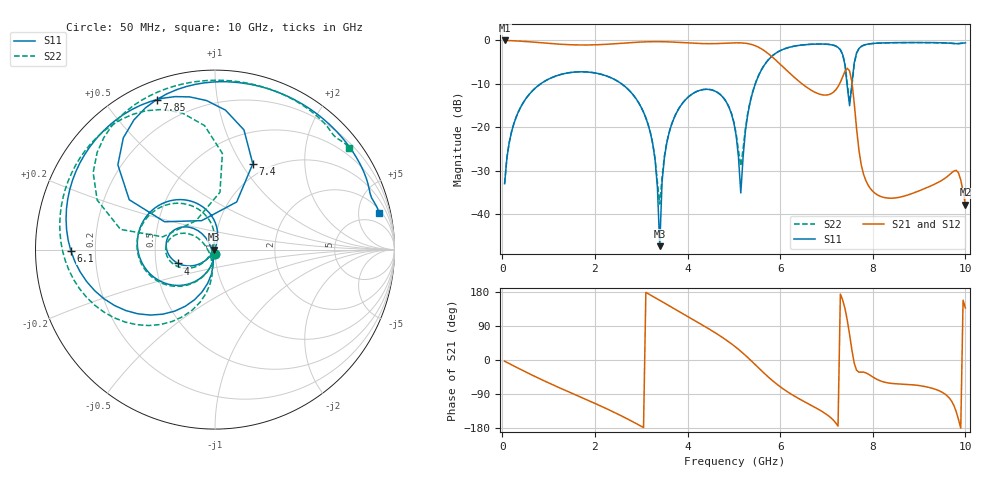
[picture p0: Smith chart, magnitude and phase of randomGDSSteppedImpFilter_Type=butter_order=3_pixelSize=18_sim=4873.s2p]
! freq	dB(S11)	phase(S11)	dB(S12)	phase(S12)
!  dB(S21)	phase(S21)	dB(S22)	phase(S22)
!S-par simulation data
#  GHz  S  DB  R 50
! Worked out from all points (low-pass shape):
!   200 points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, 50 MHz to 10 GHz, reference 50 ohm
!   highest |S21| = -0.01 dB at 50 MHz (marker M1); lowest = -37.8 dB at 10 GHz (marker M2)
!   |S21| within 3 dB of the highest: start of sweep to 5.739 GHz
!   lowest |S11| = -47.3 dB at 3.4 GHz (marker M3), VSWR 1.01, Z = 49.6 - j0.0609 ohm
!   |S11| at or under -10 dB: start of sweep to 826.3 MHz; 2.578 GHz to 5.464 GHz (2.886 GHz wide, 71.8 % of centre); 7.443 GHz to 7.549 GHz (105.6 MHz wide, 1.41 % of centre)
!   |S22| runs from -37.6 to -0.5 dB; largest |S21 - S12| = 0
!   S11 on the Smith chart (normalised r, x): 50 MHz: 1.00, -0.04; 4 GHz: 0.65, -0.11; 6.1 GHz: 0.11, -0.00; 7.4 GHz: 0.85, +1.12; 7.85 GHz: 0.08, +0.68; 10 GHz: 2.46, +8.32
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0.05  -32.94 -93.2  -0.01 -3.2  -0.01 -3.2  -32.94 -93.1
0.5  -13.53 -122.3  -0.25 -31.2  -0.25 -31.2  -13.53 -121.3
1.75  -7.21 166.9  -1.05 -101.0  -1.05 -101.0  -7.21 170.5
3.05  -16.51 89.3  -0.34 -178.3  -0.34 -178.3  -16.50 98.6
3.3  -27.52 74.5  -0.28 164.5  -0.28 164.5  -27.22 94.1
3.4  -47.31 -171.8  -0.28 157.5  -0.28 157.5  -37.63 169.6
3.45  -32.61 -125.9  -0.29 153.9  -0.29 153.9  -31.45 -141.1
3.55  -23.68 -129.0  -0.32 146.9  -0.32 146.9  -23.48 -130.7
4  -13.17 -159.4  -0.57 115.0  -0.57 115.0  -13.15 -153.4
5.05  -21.88 127.9  -0.55 33.1  -0.55 33.1  -21.41 148.4
5.15  -35.07 -169.9  -0.56 23.0  -0.56 23.0  -28.84 -156.2
5.4  -12.16 -107.0  -0.98 -4.9  -0.98 -4.9  -12.02 -101.7
6.1  -1.91 -179.5  -6.47 -79.1  -6.47 -79.1  -1.89 -168.0
6.7  -0.87 137.5  -11.63 -121.6  -11.63 -121.6  -0.86 151.8
7.2  -1.29 99.4  -11.37 -165.9  -11.37 -165.9  -1.28 116.3
7.4  -5.64 66.2  -7.12 135.7  -7.12 135.7  -5.39 85.6
7.5  -15.01 114.8  -7.04 66.6  -7.04 66.6  -14.31 123.3
7.65  -2.87 138.9  -20.27 -27.0  -20.27 -27.0  -2.95 157.2
7.85  -0.95 111.3  -32.23 -33.8  -32.23 -33.8  -0.95 130.1
8.35  -0.53 80.8  -36.27 -60.9  -36.27 -60.9  -0.54 101.4
9.8  -0.74 19.7  -29.87 -135.6  -29.87 -135.6  -0.74 44.1
10  -0.56 12.6  -37.77 137.2  -37.77 137.2  -0.54 37.2
